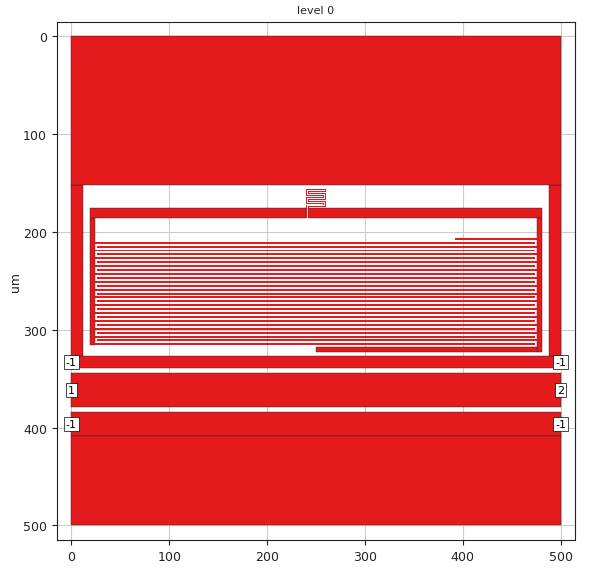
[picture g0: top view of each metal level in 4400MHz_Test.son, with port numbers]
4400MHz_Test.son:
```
FTYP SONPROJ 18 ! Sonnet Project File
VER 18.58
HEADER
LIC maynooth60.1.87150
DAT 8/13/2024 17:26:54
BUILT_BY_CREATED xgeom 13.52 04/05/2012 11:22:39
BUILT_BY_SAVED Sonnet Matlab Interface v7.4
MDATE 08/13/2024 17:25:29
HDATE 08/13/2024 17:25:29
END HEADER
DIM
ANG DEG
CAP PF
CON /OH
FREQ GHZ
IND NH
LNG UM
RES OH
END DIM
CONTROL
VARSWP
OPTIONS -dj
SPEED 2
CACHE_ABS 1
Q_ACC Y
DET_ABS_RES Y
END CONTROL
GEO
TMET "Lossless" 0 SUP 0 0 0 0
BMET "Lossless" 0 SUP 0 0 0 0
MET "superconductor" 1 SUP 0 0 0 5
MET "TiN multi" 2 SUP 0 0 0 5
MET "thick Ta" 3 SUP 0 0 0 0.001
BOX 1 500 500 1000 1000 20 0
      200 1 1 0 0 0 0 "Unnamed"
      450 9.3 1 0 0 0 0 "Sapphire" A 11.5 1 0 0 0
LORGN 0 500 U
POR1 BOX
POLY 690 1
1
-1 50 0 0 0 500 396.5
POR1 BOX
POLY 690 1
3
-1 50 0 0 0 0 396.5
POR1 BOX
POLY 695 1
3
1 50 0 0 0 0 361.5
POR1 BOX
POLY 695 1
1
2 50 0 0 0 500 361.5
POR1 BOX
POLY 901 1
1
-1 50 0 0 0 500 333
POR1 BOX
POLY 901 1
3
-1 50 0 0 0 0 333
NUM 61
0 5 0 N 690 1 1 100 100 0 0 0 Y
0 384
500 384
500 409
0 409
0 384
END
0 5 0 N 691 1 1 100 100 0 0 0 Y
488 152
500 152
500 327
488 327
488 152
END
0 5 0 N 695 1 1 100 100 0 0 0 Y
0 344
500 344
500 379
0 379
0 344
END
0 5 0 N 696 1 1 100 100 0 0 0 Y
0 409
500 409
500 500
0 500
0 409
END
0 5 0 N 731 1 1 100 100 0 0 0 Y
19 186
24 186
24 316
19 316
19 186
END
0 5 0 N 834 1 1 100 100 0 0 0 Y
241 172
258 172
258 173
241 173
241 172
END
0 5 0 N 835 1 1 100 100 0 0 0 Y
257 163
258 163
258 164
257 164
257 163
END
0 5 0 N 836 1 1 100 100 0 0 0 Y
259 169
260 169
260 174
259 174
259 169
END
0 5 0 N 837 1 1 100 100 0 0 0 Y
240 164
241 164
241 170
240 170
240 164
END
0 5 0 N 838 1 1 100 100 0 0 0 Y
257 171
258 171
258 172
257 172
257 171
END
0 5 0 N 839 1 1 100 100 0 0 0 Y
240 156
259 156
259 157
240 157
240 156
END
0 5 0 N 840 1 1 100 100 0 0 0 Y
242 160
260 160
260 161
242 161
242 160
END
0 5 0 N 841 1 1 100 100 0 0 0 Y
241 164
258 164
258 165
241 165
241 164
END
0 5 0 N 842 1 1 100 100 0 0 0 Y
259 156
260 156
260 158
259 158
259 156
END
0 5 0 N 843 1 1 100 100 0 0 0 Y
242 174
260 174
260 175
242 175
242 174
END
0 5 0 N 844 1 1 100 100 0 0 0 Y
240 157
241 157
241 162
240 162
240 157
END
0 5 0 N 845 1 1 100 100 0 0 0 Y
240 170
258 170
258 171
240 171
240 170
END
0 5 0 N 846 1 1 100 100 0 0 0 Y
19 176
240 176
240 186
19 186
19 176
END
0 5 0 N 847 1 1 100 100 0 0 0 Y
242 158
260 158
260 159
242 159
242 158
END
0 5 0 N 848 1 1 100 100 0 0 0 Y
242 159
243 159
243 160
242 160
242 159
END
0 5 0 N 849 1 1 100 100 0 0 0 Y
242 167
243 167
243 168
242 168
242 167
END
0 5 0 N 850 1 1 100 100 0 0 0 Y
242 168
260 168
260 169
242 169
242 168
END
0 5 0 N 851 1 1 100 100 0 0 0 Y
242 166
260 166
260 167
242 167
242 166
END
0 5 0 N 852 1 1 100 100 0 0 0 Y
242 175
243 175
243 176
242 176
242 175
END
0 5 0 N 853 1 1 100 100 0 0 0 Y
259 161
260 161
260 166
259 166
259 161
END
0 5 0 N 854 1 1 100 100 0 0 0 Y
240 162
258 162
258 163
240 163
240 162
END
0 5 0 N 855 1 1 100 100 0 0 0 Y
242 176
481 176
481 186
242 186
242 176
END
0 5 0 N 856 1 1 100 100 0 0 0 Y
240 172
241 172
241 186
240 186
240 172
END
0 5 0 N 878 1 1 100 100 0 0 0 Y
0 152
12 152
12 327
0 327
0 152
END
0 5 0 N 900 1 1 100 100 0 0 0 Y
0 0
500 0
500 152
0 152
0 0
END
0 5 0 N 901 1 1 100 100 0 0 0 Y
0 327
500 327
500 339
0 339
0 327
END
0 5 0 N 253 1 1 100 100 0 0 0 Y
476 186
481 186
481 323
476 323
476 186
END
0 5 0 N 305 1 1 100 100 0 0 0 Y
24 314
474 314
474 316
24 316
24 314
END
0 5 0 N 12 1 1 100 100 0 0 0 Y
26 310
476 310
476 312
26 312
26 310
END
0 5 0 N 150 1 1 100 100 0 0 0 Y
250 318
476 318
476 323
250 323
250 318
END
0 5 0 N 268 1 1 100 100 0 0 0 Y
24 306
474 306
474 308
24 308
24 306
END
0 5 0 N 68 1 1 100 100 0 0 0 Y
26 302
476 302
476 304
26 304
26 302
END
0 5 0 N 165 1 1 100 100 0 0 0 Y
24 298
474 298
474 300
24 300
24 298
END
0 5 0 N 270 1 1 100 100 0 0 0 Y
26 294
476 294
476 296
26 296
26 294
END
0 5 0 N 108 1 1 100 100 0 0 0 Y
24 290
474 290
474 292
24 292
24 290
END
0 5 0 N 263 1 1 100 100 0 0 0 Y
26 286
476 286
476 288
26 288
26 286
END
0 5 0 N 49 1 1 100 100 0 0 0 Y
24 282
474 282
474 284
24 284
24 282
END
0 5 0 N 404 1 1 100 100 0 0 0 Y
26 278
476 278
476 280
26 280
26 278
END
0 5 0 N 252 1 1 100 100 0 0 0 Y
24 274
474 274
474 276
24 276
24 274
END
0 5 0 N 331 1 1 100 100 0 0 0 Y
26 270
476 270
476 272
26 272
26 270
END
0 5 0 N 228 1 1 100 100 0 0 0 Y
24 266
474 266
474 268
24 268
24 266
END
0 5 0 N 410 1 1 100 100 0 0 0 Y
26 262
476 262
476 264
26 264
26 262
END
0 5 0 N 258 1 1 100 100 0 0 0 Y
24 258
474 258
474 260
24 260
24 258
END
0 5 0 N 72 1 1 100 100 0 0 0 Y
26 254
476 254
476 256
26 256
26 254
END
0 5 0 N 412 1 1 100 100 0 0 0 Y
24 250
474 250
474 252
24 252
24 250
END
0 5 0 N 408 1 1 100 100 0 0 0 Y
26 246
476 246
476 248
26 248
26 246
END
0 5 0 N 474 1 1 100 100 0 0 0 Y
24 242
474 242
474 244
24 244
24 242
END
0 5 0 N 103 1 1 100 100 0 0 0 Y
26 238
476 238
476 240
26 240
26 238
END
0 5 0 N 327 1 1 100 100 0 0 0 Y
24 234
474 234
474 236
24 236
24 234
END
0 5 0 N 190 1 1 100 100 0 0 0 Y
26 230
476 230
476 232
26 232
26 230
END
0 5 0 N 322 1 1 100 100 0 0 0 Y
24 226
474 226
474 228
24 228
24 226
END
0 5 0 N 514 1 1 100 100 0 0 0 Y
26 222
476 222
476 224
26 224
26 222
END
0 5 0 N 432 1 1 100 100 0 0 0 Y
24 218
474 218
474 220
24 220
24 218
END
0 5 0 N 221 1 1 100 100 0 0 0 Y
26 214
476 214
476 216
26 216
26 214
END
0 5 0 N 247 1 1 100 100 0 0 0 Y
24 210
474 210
474 212
24 212
24 210
END
0 5 0 N 187 1 1 100 100 0 0 0 Y
392 206
476 206
476 208
392 208
392 206
END
END GEO
OPT
MAX 100
END OPT
VARSWP
ENABLED Y
FREQ Y AY ABS_ENTRY 2.9003 5.4503 -1 2000
END
END VARSWP
FILEOUT
CSV D Y $BASENAME.csv NC 15 S MA R 50
FOLDER .
END FILEOUT
TRANSLATOR
GDSEXPORT
UseTLs true
SepObj false
SepMat true
DivideMulti false
Circles false
CircleType inscribed
CircleSize 0
KeepMetals true
KeepVias false
KeepViaPads false
KeepBricks true
KeepEdgeVias false
KeepParent false
ConvertParent false
AllEdgeViasAsVia false
END
END TRANSLATOR
```
